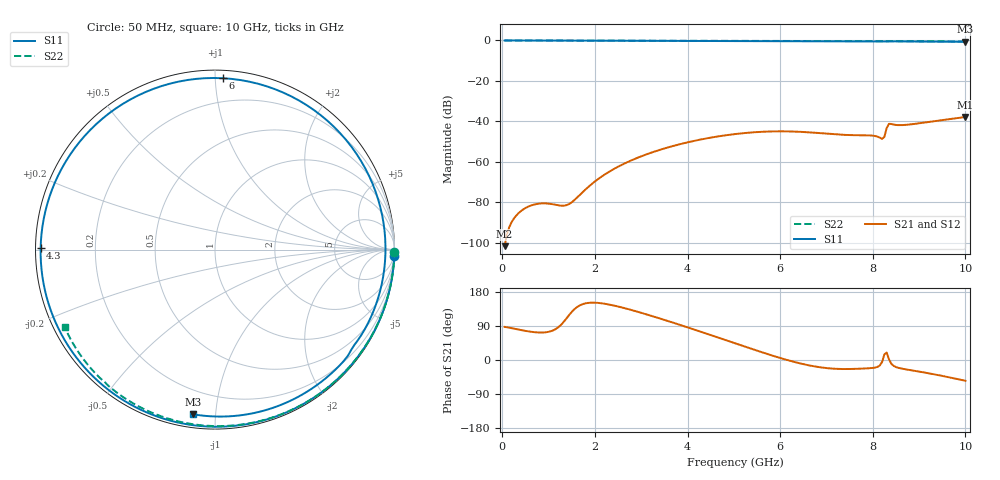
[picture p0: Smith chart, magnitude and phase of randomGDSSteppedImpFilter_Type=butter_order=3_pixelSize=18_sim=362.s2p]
! freq	dB(S11)	phase(S11)	dB(S12)	phase(S12)
!  dB(S21)	phase(S21)	dB(S22)	phase(S22)
!S-par simulation data
#  GHz  S  DB  R 50
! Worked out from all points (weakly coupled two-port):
!   200 points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, 50 MHz to 10 GHz, reference 50 ohm
!   highest |S21| = -37.81 dB at 10 GHz (marker M1); lowest = -101.6 dB at 50 MHz (marker M2)
!   lowest |S11| = -0.7 dB at 10 GHz (marker M3), VSWR 25.86, Z = 3.41 - j43.7 ohm
!   |S11| at or under -10 dB: nowhere
!   |S22| runs from -0.5 to 0.0 dB; largest |S21 - S12| = 0
!   S11 on the Smith chart (normalised r, x): 50 MHz: 1, -54; 4.3 GHz: 0.01, +0.00; 6 GHz: 0.05, +1.04; 10 GHz: 0.07, -0.87
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0.05  -0.01 -2.1  -101.57 87.4  -101.57 87.4  -0.00 -0.9
0.75  -0.04 -31.3  -80.72 72.9  -80.72 72.9  -0.02 -13.2
1.5  -0.08 -62.0  -79.89 126.9  -79.89 126.9  -0.03 -26.2
1.75  -0.09 -72.2  -74.58 147.9  -74.58 147.9  -0.04 -30.5
2.55  -0.13 -104.7  -61.75 139.6  -61.75 139.6  -0.06 -44.0
3.4  -0.18 -140.1  -54.02 109.7  -54.02 109.7  -0.08 -57.8
3.85  -0.22 -159.8  -51.13 92.1  -51.13 92.1  -0.09 -65.0
4.3  -0.25 179.5  -48.84 74.0  -48.84 74.0  -0.10 -72.0
5.05  -0.32 141.6  -46.15 43.1  -46.15 43.1  -0.13 -83.4
5.55  -0.36 113.8  -45.17 22.7  -45.17 22.7  -0.15 -90.8
6  -0.39 87.4  -44.87 5.4  -44.87 5.4  -0.17 -97.4
6.35  -0.41 66.5  -45.03 -6.5  -45.03 -6.5  -0.19 -102.4
6.7  -0.42 45.7  -45.49 -16.0  -45.49 -16.0  -0.21 -107.3
7.05  -0.43 25.5  -46.11 -21.9  -46.11 -21.9  -0.23 -112.2
7.4  -0.44 6.4  -46.63 -23.9  -46.63 -23.9  -0.26 -117.0
8  -0.48 -23.5  -47.00 -20.9  -47.00 -20.9  -0.30 -125.3
8.2  -0.51 -32.4  -48.57 -5.5  -48.57 -5.5  -0.32 -128.1
8.25  -0.53 -34.5  -47.64 14.5  -47.64 14.5  -0.33 -128.8
8.3  -0.52 -36.4  -43.27 19.7  -43.27 19.7  -0.35 -129.4
8.35  -0.47 -38.5  -41.17 1.9  -41.17 1.9  -0.35 -130.0
9.1  -0.54 -68.2  -40.59 -32.7  -40.59 -32.7  -0.41 -140.3
10  -0.67 -97.6  -37.81 -54.9  -37.81 -54.9  -0.52 -152.6
